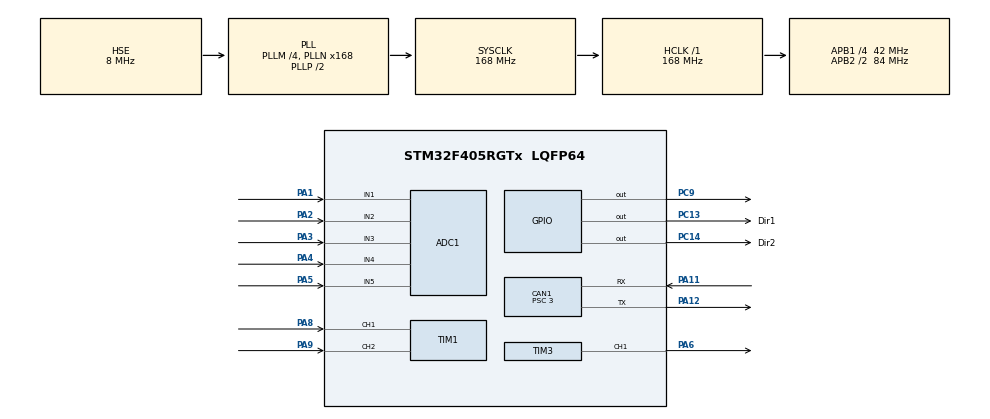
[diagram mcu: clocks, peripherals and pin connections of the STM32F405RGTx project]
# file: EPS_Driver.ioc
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ADC1.Channel-0\#ChannelRegularConversion=ADC_CHANNEL_1
ADC1.Channel-1\#ChannelRegularConversion=ADC_CHANNEL_2
ADC1.Channel-2\#ChannelRegularConversion=ADC_CHANNEL_3
ADC1.Channel-3\#ChannelRegularConversion=ADC_CHANNEL_4
ADC1.Channel-4\#ChannelRegularConversion=ADC_CHANNEL_5
ADC1.ClockPrescaler=ADC_CLOCK_SYNC_PCLK_DIV8
ADC1.ContinuousConvMode=ENABLE
ADC1.DMAContinuousRequests=ENABLE
ADC1.DiscontinuousConvMode=DISABLE
ADC1.EOCSelection=ADC_EOC_SEQ_CONV
ADC1.NbrOfConversion=5
ADC1.NbrOfConversionFlag=1
ADC1.Rank-0\#ChannelRegularConversion=1
ADC1.Rank-1\#ChannelRegularConversion=2
ADC1.Rank-2\#ChannelRegularConversion=3
ADC1.Rank-3\#ChannelRegularConversion=4
ADC1.Rank-4\#ChannelRegularConversion=5
ADC1.SamplingTime-0\#ChannelRegularConversion=ADC_SAMPLETIME_480CYCLES
ADC1.SamplingTime-1\#ChannelRegularConversion=ADC_SAMPLETIME_480CYCLES
ADC1.SamplingTime-2\#ChannelRegularConversion=ADC_SAMPLETIME_480CYCLES
ADC1.SamplingTime-3\#ChannelRegularConversion=ADC_SAMPLETIME_480CYCLES
ADC1.SamplingTime-4\#ChannelRegularConversion=ADC_SAMPLETIME_480CYCLES
ADC1.ScanConvMode=ENABLE
ADC1.master=1
CAN1.BS1=CAN_BS1_11TQ
CAN1.BS2=CAN_BS2_2TQ
CAN1.CalculateBaudRate=1000000
CAN1.CalculateTimeBit=1000
CAN1.CalculateTimeQuantum=71.42857142857143
CAN1.Prescaler=3
Dma.ADC1.0.Direction=DMA_PERIPH_TO_MEMORY
Dma.ADC1.0.FIFOMode=DMA_FIFOMODE_DISABLE
Dma.ADC1.0.Instance=DMA2_Stream0
Dma.ADC1.0.MemDataAlignment=DMA_MDATAALIGN_HALFWORD
Dma.ADC1.0.MemInc=DMA_MINC_ENABLE
Dma.ADC1.0.Mode=DMA_CIRCULAR
Dma.ADC1.0.PeriphDataAlignment=DMA_PDATAALIGN_HALFWORD
Dma.ADC1.0.PeriphInc=DMA_PINC_DISABLE
Dma.ADC1.0.Priority=DMA_PRIORITY_LOW
Dma.Request0=ADC1
Mcu.Family=STM32F4
Mcu.Name=STM32F405RGTx
Mcu.Package=LQFP64
NVIC.CAN1_RX0_IRQn=true\:0\:0\:false\:false\:true\:true\:true\:true
NVIC.DMA2_Stream0_IRQn=true\:0\:0\:false\:false\:true\:false\:true\:true
NVIC.PriorityGroup=NVIC_PRIORITYGROUP_4
PA1.Signal=ADCx_IN1
PA11.Mode=CAN_Activate
PA11.Signal=CAN1_RX
PA12.Mode=CAN_Activate
PA12.Signal=CAN1_TX
PA13.Mode=Serial_Wire
PA13.Signal=SYS_JTMS-SWDIO
PA14.Mode=Serial_Wire
PA14.Signal=SYS_JTCK-SWCLK
PA2.Signal=ADCx_IN2
PA3.Signal=ADCx_IN3
PA4.Signal=ADCx_IN4
PA5.Signal=ADCx_IN5
PA6.Signal=S_TIM3_CH1
PA8.GPIO_PuPd=GPIO_PULLUP
PA8.GPIO_Speed=GPIO_SPEED_FREQ_VERY_HIGH
PA8.Signal=S_TIM1_CH1
PA9.GPIO_PuPd=GPIO_PULLUP
PA9.GPIO_Speed=GPIO_SPEED_FREQ_VERY_HIGH
PA9.Signal=S_TIM1_CH2
PC13-ANTI_TAMP.GPIO_Label=Dir1
PC13-ANTI_TAMP.Signal=GPIO_Output
PC14-OSC32_IN.GPIO_Label=Dir2
PC14-OSC32_IN.Signal=GPIO_Output
PC9.Signal=GPIO_Output
PH0-OSC_IN.Mode=HSE-External-Oscillator
PH0-OSC_IN.Signal=RCC_OSC_IN
PH1-OSC_OUT.Mode=HSE-External-Oscillator
PH1-OSC_OUT.Signal=RCC_OSC_OUT
ProjectManager.HeapSize=0x200
ProjectManager.StackSize=0x400
ProjectManager.TargetToolchain=STM32CubeIDE
RCC.48MHZClocksFreq_Value=84000000
RCC.AHBFreq_Value=168000000
RCC.APB1CLKDivider=RCC_HCLK_DIV4
RCC.APB1Freq_Value=42000000
RCC.APB1TimFreq_Value=84000000
RCC.APB2CLKDivider=RCC_HCLK_DIV2
RCC.APB2Freq_Value=84000000
RCC.APB2TimFreq_Value=168000000
RCC.CortexFreq_Value=168000000
RCC.EnbaleCSS=true
RCC.HCLKFreq_Value=168000000
RCC.HSE_VALUE=8000000
RCC.HSI_VALUE=16000000
RCC.LSE_VALUE=32768
RCC.PLLM=4
RCC.PLLN=168
RCC.PLLSourceVirtual=RCC_PLLSOURCE_HSE
RCC.SYSCLKFreq_VALUE=168000000
RCC.SYSCLKSource=RCC_SYSCLKSOURCE_PLLCLK
RCC.VCOOutputFreq_Value=336000000
SH.ADCx_IN1.0=ADC1_IN1,IN1
SH.ADCx_IN2.0=ADC1_IN2,IN2
SH.ADCx_IN3.0=ADC1_IN3,IN3
SH.ADCx_IN4.0=ADC1_IN4,IN4
SH.ADCx_IN5.0=ADC1_IN5,IN5
SH.S_TIM1_CH1.0=TIM1_CH1,Encoder_Interface
SH.S_TIM1_CH2.0=TIM1_CH2,Encoder_Interface
SH.S_TIM3_CH1.0=TIM3_CH1,PWM Generation1 CH1
TIM1.EncoderMode=TIM_ENCODERMODE_TI12
TIM1.IC1Filter=5
TIM1.IC1Polarity=TIM_ICPOLARITY_RISING
TIM1.IC2Filter=5
TIM1.IC2Polarity=TIM_ICPOLARITY_RISING
TIM3.Channel-PWM\ Generation1\ CH1=TIM_CHANNEL_1
TIM3.OCFastMode_PWM-PWM\ Generation1\ CH1=TIM_OCFAST_ENABLE
TIM3.Period=500
TIM3.Prescaler=7
board=custom

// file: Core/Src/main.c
/* USER CODE BEGIN Header */
/**
  ******************************************************************************
  * @file           : main.c
  * @brief          : Main program body
  ******************************************************************************
  * @attention
  *
  * Copyright (c) 2022 STMicroelectronics.
  * All rights reserved.
  *
  * This software is licensed under terms that can be found in the LICENSE file
  * in the root directory of this software component.
  * If no LICENSE file comes with this software, it is provided AS-IS.
  *
  ******************************************************************************
  */
/* USER CODE END Header */
#include "main.h"
#include "adc.h"
#include "can.h"
#include "dma.h"
#include "tim.h"
#include "gpio.h"

/* USER CODE BEGIN Includes */
#include "stdio.h"
#include "string.h"
#include "math.h"
#include "stdlib.h"
#include "M_PID.h"
#include "M_CAN_FilterSetup.h"
/* USER CODE END Includes */

/* USER CODE BEGIN PV */
uint32_t adcBuff[5];
uint16_t adcRead[5];
int16_t adcDiff;

float voltage[5];

float scale = 0.5;
float scale2 = 0.2;

float VSupply = 28;
float MaxVmotor = 12.0;

int pwmMax = 100;

float diffFilter,diffOffset;

float maxVoltage = 0;
float potDeg,potDegFilt;

float spPos=0,error_pos;
float kp=0.5,propo;
float PID_eps;

int mode;

M_PID_Typedef PID_Posisi = { .Kp = 1.5, .Ki = 0.15, .Kd = 0.0, .TimeSampling =
		0.001, .ModePID = M_PID_MODE_NORMAL, .Max_Output = 250 };

M_CAN_Filter_Typedef CAN_Rx_Filter;

short int steer_encoder;
short int steer_SP_Pos;

CAN_RxHeaderTypeDef RxMsg;
CAN_TxHeaderTypeDef TxMsg;

uint8_t CAN_RxData[8];
uint8_t CAN_TxData[8];

uint32_t DeviceID = 3; // Steering

uint32_t TxMailbox;

uint32_t tickEPS;

int maxDeg = 230;
int minDeg = 90;

uint8_t epsEMGC;

float middleSteerADC = 1980;
float adctoEnc;
float posSteerADC;
float posSteerFusion;

int testPWM=250;

int PWM_out;

uint32_t timeS;

int16_t ENC_Abs;

int16_t middle_ADC = 1600;
int16_t ADC_To_ENC;
int16_t ENC_ABS_Filt;

int16_t ENC_Fusion;

uint32_t time_fuse;

int16_t MaxPos = 14000;

int16_t PWM_CAN;

// Maximal 8000

/* USER CODE END PV */

void SystemClock_Config(void);
/* USER CODE BEGIN PFP */
void motor_pwm(int pwm);
/* USER CODE END PFP */

int main(void)
{

  /* MCU Configuration--------------------------------------------------------*/

  /* Reset of all peripherals, Initializes the Flash interface and the Systick. */
  HAL_Init();

  /* Configure the system clock */

  SystemClock_Config();

  /* Initialize all configured peripherals */
  MX_GPIO_Init();
  MX_DMA_Init();
  MX_ADC1_Init();
  MX_TIM3_Init();
  MX_CAN1_Init();
  MX_TIM1_Init();
  /* USER CODE BEGIN 2 */

  HAL_ADC_Start_DMA(&hadc1, adcBuff, 5);
  HAL_TIM_PWM_Start(&htim3, TIM_CHANNEL_1);

  M_CAN_Filter_Init(&CAN_Rx_Filter, &hcan1);
  HAL_CAN_Start(&hcan1);
  HAL_CAN_ActivateNotification(&hcan1, CAN_IT_RX_FIFO0_MSG_PENDING);

  HAL_TIM_Encoder_Start(&htim1, TIM_CHANNEL_ALL);

  TxMsg.DLC = 8;
  TxMsg.ExtId = 0;
  TxMsg.IDE = CAN_ID_STD;
  TxMsg.RTR = CAN_RTR_DATA;
  TxMsg.StdId = 0x580 + DeviceID;

  /* USER CODE END 2 */

  /* Infinite loop */
  while (1)
  {

    /* USER CODE BEGIN 3 */

	  steer_encoder = __HAL_TIM_GET_COUNTER(&htim1);

	  if(ENC_Fusion > MaxPos)
	  {
		  if(PWM_CAN>0)
			  PWM_out=0;
		  else
			  PWM_out = PWM_CAN;

	  }
	  else if(ENC_Fusion < -MaxPos)
	  {
		  if(PWM_CAN<0)
			  PWM_out=0;
		  else
			  PWM_out = PWM_CAN;
	  }
	  else
	  {
		  PWM_out = PWM_CAN;
	  }

	  if(PWM_out>pwmMax)
		  PWM_out = pwmMax;
	  else if(PWM_out<-pwmMax)
		  PWM_out = -pwmMax;

	  motor_pwm(PWM_out);

	  if(HAL_GetTick()-timeS>=200)
	  {
		  timeS = HAL_GetTick();

		  HAL_GPIO_TogglePin(GPIOC, GPIO_PIN_9);

	  }

	  if(HAL_GetTick() - time_fuse>= 1)
	  {
		ENC_Fusion = (float)ENC_ABS_Filt * 0.01 + (float)steer_encoder * 0.99;
		__HAL_TIM_GET_COUNTER(&htim1) = ENC_Fusion;

		time_fuse = HAL_GetTick();
	  }

  }

  /* USER CODE END 3 */
}

void SystemClock_Config(void)
{
  RCC_OscInitTypeDef RCC_OscInitStruct = {0};
  RCC_ClkInitTypeDef RCC_ClkInitStruct = {0};

  /** Configure the main internal regulator output voltage
  */
  __HAL_RCC_PWR_CLK_ENABLE();
  __HAL_PWR_VOLTAGESCALING_CONFIG(PWR_REGULATOR_VOLTAGE_SCALE1);

  /** Initializes the RCC Oscillators according to the specified parameters
  * in the RCC_OscInitTypeDef structure.
  */
  RCC_OscInitStruct.OscillatorType = RCC_OSCILLATORTYPE_HSE;
  RCC_OscInitStruct.HSEState = RCC_HSE_ON;
  RCC_OscInitStruct.PLL.PLLState = RCC_PLL_ON;
  RCC_OscInitStruct.PLL.PLLSource = RCC_PLLSOURCE_HSE;
  RCC_OscInitStruct.PLL.PLLM = 4;
  RCC_OscInitStruct.PLL.PLLN = 168;
  RCC_OscInitStruct.PLL.PLLP = RCC_PLLP_DIV2;
  RCC_OscInitStruct.PLL.PLLQ = 4;
  if (HAL_RCC_OscConfig(&RCC_OscInitStruct) != HAL_OK)
  {
    Error_Handler();
  }

  /** Initializes the CPU, AHB and APB buses clocks
  */
  RCC_ClkInitStruct.ClockType = RCC_CLOCKTYPE_HCLK|RCC_CLOCKTYPE_SYSCLK
                              |RCC_CLOCKTYPE_PCLK1|RCC_CLOCKTYPE_PCLK2;
  RCC_ClkInitStruct.SYSCLKSource = RCC_SYSCLKSOURCE_PLLCLK;
  RCC_ClkInitStruct.AHBCLKDivider = RCC_SYSCLK_DIV1;
  RCC_ClkInitStruct.APB1CLKDivider = RCC_HCLK_DIV4;
  RCC_ClkInitStruct.APB2CLKDivider = RCC_HCLK_DIV2;

  if (HAL_RCC_ClockConfig(&RCC_ClkInitStruct, FLASH_LATENCY_5) != HAL_OK)
  {
    Error_Handler();
  }

  /** Enables the Clock Security System
  */
  HAL_RCC_EnableCSS();
}

/* USER CODE BEGIN 4 */
void HAL_ADC_ConvCpltCallback(ADC_HandleTypeDef* hadc)
{
	adcRead[0] = (adcBuff[0] >> 0)  & 0xFFFF;
	adcRead[1] = (adcBuff[0] >> 16) & 0xFFFF;
	adcRead[2] = (adcBuff[1] >> 0)  & 0xFFFF;
	adcRead[3] = (adcBuff[1] >> 16) & 0xFFFF;
	adcRead[4] = (adcBuff[2] >> 0)  & 0xFFFF;

	voltage[0] = (float)adcRead[0] * 8.058608e-4;
	voltage[1] = (float)adcRead[1] * 8.058608e-4;
	voltage[2] = (float)adcRead[2] * 8.058608e-4;
	voltage[3] = (float)adcRead[3] * 8.058608e-4;
	voltage[4] = (float)adcRead[4] * 8.058608e-4;

	ENC_Abs = (4095 - adcRead[1])-middle_ADC;
	ADC_To_ENC = ENC_Abs * 12.6079;

	ENC_ABS_Filt = (float)ADC_To_ENC * 0.01 + (float)ENC_ABS_Filt*0.99;

	adcDiff = (int16_t)adcRead[3] - (int16_t)adcRead[4];

}

void motor_pwm(int pwm)
{
	if (pwm < 0) {
		HAL_GPIO_WritePin(Dir1_GPIO_Port, Dir1_Pin, GPIO_PIN_RESET);
		HAL_GPIO_WritePin(Dir2_GPIO_Port, Dir2_Pin, GPIO_PIN_SET);
	} else {
		HAL_GPIO_WritePin(Dir1_GPIO_Port, Dir1_Pin, GPIO_PIN_SET);
		HAL_GPIO_WritePin(Dir2_GPIO_Port, Dir2_Pin, GPIO_PIN_RESET);
	}

	TIM3->CCR1 = abs(pwm);

}

void HAL_CAN_RxFifo0MsgPendingCallback(CAN_HandleTypeDef *hcan)
{

	if(hcan->Instance == CAN1)
	{
		HAL_CAN_GetRxMessage(hcan, CAN_RX_FIFO0, &RxMsg, CAN_RxData);
		if(RxMsg.StdId == DeviceID+0x600)
		{
			if(CAN_RxData[0]==0)
			{
				memset(CAN_TxData,0,8);
				memcpy(CAN_TxData,adcRead,8);
				HAL_CAN_AddTxMessage(hcan, &TxMsg, CAN_TxData, &TxMailbox);
			}
			else if(CAN_RxData[0]==1)
			{
				memset(CAN_TxData,0,8);
				memcpy(CAN_TxData,&adcRead[4],2);
				memcpy(CAN_TxData+2,&steer_encoder,2);
				HAL_CAN_AddTxMessage(hcan, &TxMsg, CAN_TxData, &TxMailbox);
			}
			else if(CAN_RxData[0]==2)
			{
				memcpy(&PWM_CAN,CAN_RxData+1,2);

				memset(CAN_TxData,0,8);
				memcpy(CAN_TxData,&adcRead[2],2);
				memcpy(CAN_TxData+2,&ENC_Fusion,2);
				HAL_CAN_AddTxMessage(hcan, &TxMsg, CAN_TxData, &TxMailbox);
			}

		}

	}

}

/* USER CODE END 4 */

void Error_Handler(void)
{
  __disable_irq();
  while (1)
  {
  }
}
